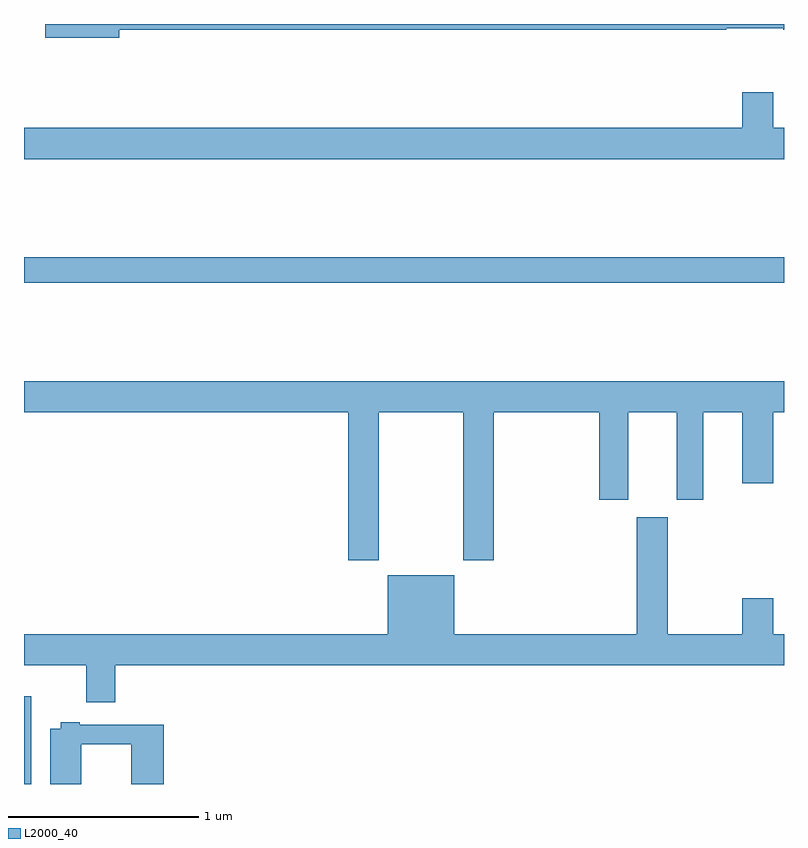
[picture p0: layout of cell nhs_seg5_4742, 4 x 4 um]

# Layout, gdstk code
import gdstk
lib = gdstk.Library(unit=1e-6, precision=1e-09)
def R(c, l, rs):  # rectangles x0, y0, x1, y1
    for r in rs: c.add(gdstk.rectangle(r[:2], r[2:], *l))
def P(c, l, *ps):  # polygons
    for p in ps: c.add(gdstk.Polygon(p, *l))
L2000_40 = (2000, 40)

nhs_seg5_4742 = lib.new_cell('nhs_seg5_4742')
R(nhs_seg5_4742, L2000_40, [(389,858.799,389.038,859.261), (389,861.436,393,861.572)])
P(nhs_seg5_4742, L2000_40, [(389.5,862.768),(392.696,862.768),(392.696,862.776),(392.996,862.776),(392.996,862.768),(393,862.768),(393,862.799),(389.112,862.799),(389.112,862.726),(389.5,862.726)],
  [(393,862.252),(392.944,862.252),(392.944,862.441),(392.78,862.441),(392.78,862.252),(389,862.252),(389,862.088),(393,862.088)],
  [(390.867,860.756),(391.312,860.756),(391.312,859.977),(391.472,859.977),(391.472,860.756),(392.027,860.756),(392.027,860.295),(392.179,860.295),(392.179,860.756),(392.435,860.756),(392.435,860.295),(392.575,860.295),(392.575,860.756),(392.78,860.756),(392.78,860.382),(392.944,860.382),(392.944,860.756),(393,860.756),(393,860.92),(389,860.92),(389,860.756),(390.707,860.756),(390.707,859.977),(390.867,859.977)],
  [(389,859.424),(389.327,859.424),(389.327,859.23),(389.48,859.23),(389.48,859.424),(393,859.424),(393,859.588),(392.944,859.588),(392.944,859.777),(392.78,859.777),(392.78,859.588),(392.389,859.588),(392.389,860.203),(392.225,860.203),(392.225,859.588),(391.264,859.588),(391.264,859.897),(390.914,859.897),(390.914,859.588),(389,859.588)],
  [(389.3,859.009),(389.564,859.009),(389.564,858.799),(389.735,858.799),(389.735,859.11),(389.293,859.11),(389.293,859.123),(389.193,859.123),(389.193,859.09),(389.138,859.09),(389.138,858.799),(389.3,858.799)])

lib.write_gds('nhs_seg5_4742.gds')
